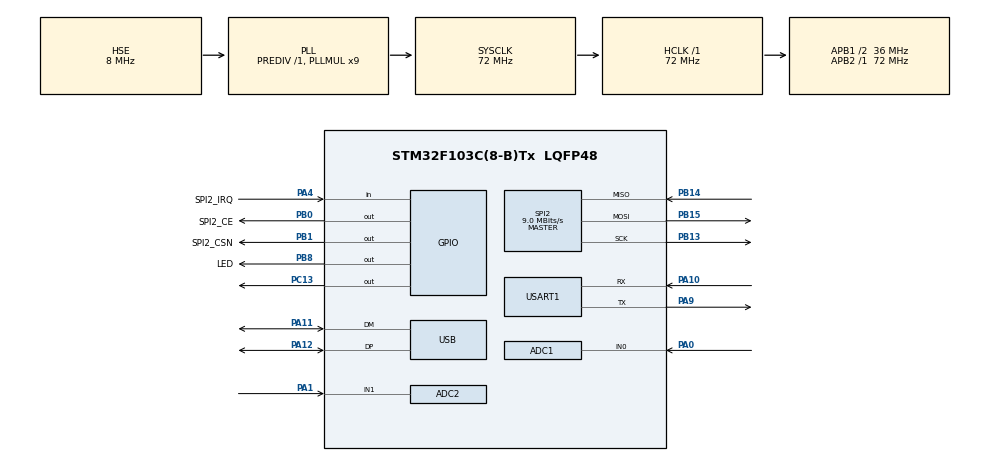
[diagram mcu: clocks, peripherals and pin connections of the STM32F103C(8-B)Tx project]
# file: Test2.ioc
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ADC1.Channel-0\#ChannelRegularConversion=ADC_CHANNEL_0
ADC1.NbrOfConversionFlag=1
ADC1.Rank-0\#ChannelRegularConversion=1
ADC1.SamplingTime-0\#ChannelRegularConversion=ADC_SAMPLETIME_1CYCLE_5
ADC1.master=1
ADC2.Channel-0\#ChannelRegularConversion=ADC_CHANNEL_1
ADC2.NbrOfConversionFlag=1
ADC2.Rank-0\#ChannelRegularConversion=1
ADC2.SamplingTime-0\#ChannelRegularConversion=ADC_SAMPLETIME_1CYCLE_5
Mcu.Family=STM32F1
Mcu.Name=STM32F103C(8-B)Tx
Mcu.Package=LQFP48
NVIC.ADC1_2_IRQn=true\:0\:0\:false\:false\:true\:true\:true\:true
NVIC.PriorityGroup=NVIC_PRIORITYGROUP_4
NVIC.SPI2_IRQn=true\:0\:0\:false\:false\:true\:true\:true\:true
NVIC.USART1_IRQn=true\:0\:0\:false\:false\:true\:true\:true\:true
NVIC.USB_LP_CAN1_RX0_IRQn=true\:0\:0\:false\:false\:true\:false\:true\:true
PA0-WKUP.Signal=ADCx_IN0
PA1.Signal=ADCx_IN1
PA10.Mode=Asynchronous
PA10.Signal=USART1_RX
PA11.Mode=Device
PA11.Signal=USB_DM
PA12.Mode=Device
PA12.Signal=USB_DP
PA13.Mode=Serial_Wire
PA13.Signal=SYS_JTMS-SWDIO
PA14.Mode=Serial_Wire
PA14.Signal=SYS_JTCK-SWCLK
PA4.GPIO_Label=SPI2_IRQ
PA4.Signal=GPIO_Input
PA9.Mode=Asynchronous
PA9.Signal=USART1_TX
PB0.GPIO_Label=SPI2_CE
PB0.Signal=GPIO_Output
PB1.GPIO_Label=SPI2_CSN
PB1.Signal=GPIO_Output
PB13.Mode=Full_Duplex_Master
PB13.Signal=SPI2_SCK
PB14.Mode=Full_Duplex_Master
PB14.Signal=SPI2_MISO
PB15.Mode=Full_Duplex_Master
PB15.Signal=SPI2_MOSI
PB8.GPIO_Label=LED
PB8.Signal=GPIO_Output
PC13-TAMPER-RTC.Signal=GPIO_Output
PD0-OSC_IN.Mode=HSE-External-Oscillator
PD0-OSC_IN.Signal=RCC_OSC_IN
PD1-OSC_OUT.Mode=HSE-External-Oscillator
PD1-OSC_OUT.Signal=RCC_OSC_OUT
ProjectManager.HeapSize=0x400
ProjectManager.StackSize=0x400
ProjectManager.TargetToolchain=MDK-ARM V5
RCC.ADCPresc=RCC_ADCPCLK2_DIV6
RCC.AHBFreq_Value=72000000
RCC.APB1CLKDivider=RCC_HCLK_DIV2
RCC.APB1Freq_Value=36000000
RCC.APB1TimFreq_Value=72000000
RCC.APB2Freq_Value=72000000
RCC.APB2TimFreq_Value=72000000
RCC.HCLKFreq_Value=72000000
RCC.PLLMUL=RCC_PLL_MUL9
RCC.SYSCLKFreq_VALUE=72000000
RCC.SYSCLKSource=RCC_SYSCLKSOURCE_PLLCLK
RCC.USBFreq_Value=48000000
RCC.USBPrescaler=RCC_USBCLKSOURCE_PLL_DIV1_5
SH.ADCx_IN0.0=ADC1_IN0,IN0
SH.ADCx_IN1.0=ADC2_IN1,IN1
SPI2.BaudRatePrescaler=SPI_BAUDRATEPRESCALER_4
SPI2.CLKPhase=SPI_PHASE_2EDGE
SPI2.CalculateBaudRate=9.0 MBits/s
SPI2.Direction=SPI_DIRECTION_2LINES
SPI2.Mode=SPI_MODE_MASTER
SPI2.VirtualType=VM_MASTER
USART1.VirtualMode=VM_ASYNC
USB_DEVICE.CLASS_NAME_FS=HID
USB_DEVICE.VirtualMode=Hid
USB_DEVICE.VirtualModeFS=Hid_FS
VP_USB_DEVICE_VS_USB_DEVICE_HID_FS.Mode=HID_FS
board=custom

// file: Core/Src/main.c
/* USER CODE BEGIN Header */
/**
  ******************************************************************************
  * @file           : main.c
  * @brief          : Main program body
  ******************************************************************************
  * @attention
  *
  * Copyright (c) 2024 STMicroelectronics.
  * All rights reserved.
  *
  * This software is licensed under terms that can be found in the LICENSE file
  * in the root directory of this software component.
  * If no LICENSE file comes with this software, it is provided AS-IS.
  *
  ******************************************************************************
  */
/* USER CODE END Header */
#include "main.h"
#include "adc.h"
#include "spi.h"
#include "usart.h"
#include "usb_device.h"
#include "gpio.h"

/* USER CODE BEGIN Includes */
#include "usbd_hid.h"
#include <stdint.h>
#include <stdbool.h>
#include <limits.h>
#include "mavlink.h"
#include "nrf24L01.h"
#include "USB.h"

/* USER CODE END Includes */

void SystemClock_Config(void);
/* USER CODE BEGIN PFP */

//  接收状态
uint16_t UART1_RX_STA=0;

/* USER CODE END PFP */

/* USER CODE BEGIN 0 */

int fputc(int ch,FILE *f)
{
	uint8_t temp[1] = {ch};

	//采用轮询方式发送1字节数据
	HAL_UART_Transmit(&huart1,temp,1,2);
	return ch;
}

//mavlink_rc_channels_t  rc_channels;
//mavlink_message_t msg_receive;
//mavlink_status_t mavlink_status;
//mavlink_channel_t chan=MAVLINK_COMM_2;
//	uint8_t buf=0;

//uint8_t flag=0;
//void HAL_UART_RxCpltCallback(UART_HandleTypeDef *huart)
//{
//    // 判断中断是由哪个串口触发的
//    if(huart->Instance == USART1)
//    {
//			HAL_UART_Receive_IT(huart, &buf, 1);
//			if (mavlink_parse_char(chan, buf, &msg_receive, &mavlink_status))//成功解析到一次mavlink消息
//			{
//				switch(msg_receive.msgid)
//			 {
//				case MAVLINK_MSG_ID_RC_CHANNELS:
//						 mavlink_msg_rc_channels_decode(&msg_receive, &rc_channels);
//						flag=1;
//						 break;
//				}
//			}
//		}
//}

/* USER CODE END 0 */

int main(void)
{

  /* MCU Configuration--------------------------------------------------------*/

  /* Reset of all peripherals, Initializes the Flash interface and the Systick. */
  HAL_Init();

  /* Configure the system clock */
  SystemClock_Config();

  /* Initialize all configured peripherals */
  MX_GPIO_Init();
  MX_USB_DEVICE_Init();
  MX_ADC1_Init();
  MX_ADC2_Init();
  MX_USART1_UART_Init();
	printf("haha\r\n");
  MX_SPI2_Init();
  /* USER CODE BEGIN 2 */

//  HAL_UART_Receive_IT(&huart1, &buf, 1);// 开启接收中断

	uint8_t tmp_buf[33];
	while(NRF24L01_Check())
	{
			printf("硬件查寻不到NRF24L01无线模块\r\n");
			HAL_Delay(1000);
	}
  printf("NRF24L01无线模块硬件连接正常\r\n");
  NRF24L01_RX_Mode();
  printf("进入数据接收模式\r\n");
	/* USER CODE END 2 */

  /* Infinite loop */
  while (1)
  {

    /* USER CODE BEGIN 3 */

		 if(NRF24L01_RxPacket(tmp_buf)==0)

    {
			HAL_GPIO_TogglePin(GPIOB,LED_Pin);
      tmp_buf[32]=0;//加入字符串结束符
			//printf("%d  %d  %d  %d  %d\r\n",tmp_buf[0],tmp_buf[1],tmp_buf[2],tmp_buf[3],tmp_buf[4]);
			key_callback(tmp_buf);
			MoveAccordingToBuffer(tmp_buf);
//      printf("NRF24L01无线模块数据接收成功：%s\r\n",tmp_buf);

    }

    HAL_Delay(10);

//			 if(flag == 1)
//		 {
//				MoveAccordingToBuffer(data);
//				flag = 0;
//			}
  }
  /* USER CODE END 3 */
}

void SystemClock_Config(void)
{
  RCC_OscInitTypeDef RCC_OscInitStruct = {0};
  RCC_ClkInitTypeDef RCC_ClkInitStruct = {0};
  RCC_PeriphCLKInitTypeDef PeriphClkInit = {0};

  /** Initializes the RCC Oscillators according to the specified parameters
  * in the RCC_OscInitTypeDef structure.
  */
  RCC_OscInitStruct.OscillatorType = RCC_OSCILLATORTYPE_HSE;
  RCC_OscInitStruct.HSEState = RCC_HSE_ON;
  RCC_OscInitStruct.HSEPredivValue = RCC_HSE_PREDIV_DIV1;
  RCC_OscInitStruct.HSIState = RCC_HSI_ON;
  RCC_OscInitStruct.PLL.PLLState = RCC_PLL_ON;
  RCC_OscInitStruct.PLL.PLLSource = RCC_PLLSOURCE_HSE;
  RCC_OscInitStruct.PLL.PLLMUL = RCC_PLL_MUL9;
  if (HAL_RCC_OscConfig(&RCC_OscInitStruct) != HAL_OK)
  {
    Error_Handler();
  }

  /** Initializes the CPU, AHB and APB buses clocks
  */
  RCC_ClkInitStruct.ClockType = RCC_CLOCKTYPE_HCLK|RCC_CLOCKTYPE_SYSCLK
                              |RCC_CLOCKTYPE_PCLK1|RCC_CLOCKTYPE_PCLK2;
  RCC_ClkInitStruct.SYSCLKSource = RCC_SYSCLKSOURCE_PLLCLK;
  RCC_ClkInitStruct.AHBCLKDivider = RCC_SYSCLK_DIV1;
  RCC_ClkInitStruct.APB1CLKDivider = RCC_HCLK_DIV2;
  RCC_ClkInitStruct.APB2CLKDivider = RCC_HCLK_DIV1;

  if (HAL_RCC_ClockConfig(&RCC_ClkInitStruct, FLASH_LATENCY_2) != HAL_OK)
  {
    Error_Handler();
  }
  PeriphClkInit.PeriphClockSelection = RCC_PERIPHCLK_ADC|RCC_PERIPHCLK_USB;
  PeriphClkInit.AdcClockSelection = RCC_ADCPCLK2_DIV6;
  PeriphClkInit.UsbClockSelection = RCC_USBCLKSOURCE_PLL_DIV1_5;
  if (HAL_RCCEx_PeriphCLKConfig(&PeriphClkInit) != HAL_OK)
  {
    Error_Handler();
  }
}

void Error_Handler(void)
{
  __disable_irq();
  while (1)
  {
  }
}
